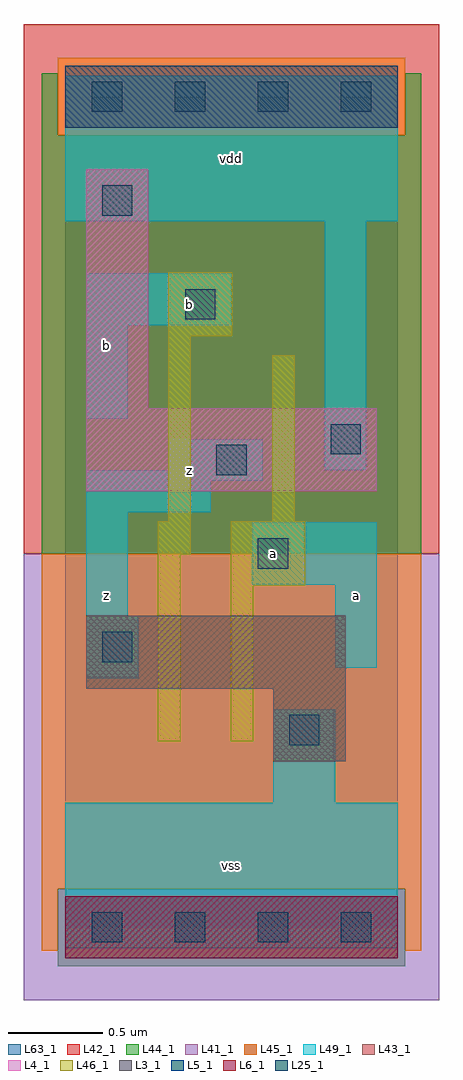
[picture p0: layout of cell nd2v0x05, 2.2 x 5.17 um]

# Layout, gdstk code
import gdstk
lib = gdstk.Library(unit=1e-6, precision=1e-09)
def R(c, l, rs):  # rectangles x0, y0, x1, y1
    for r in rs: c.add(gdstk.rectangle(r[:2], r[2:], *l))
def A(c, l, x, y, w, h, nx, ny, dx, dy):  # array of equal rectangles
    R(c, l, [(x+i*dx, y+j*dy, x+i*dx+w, y+j*dy+h) for i in range(nx) for j in range(ny)])
L3_1 = (3, 1)
L4_1 = (4, 1)
L5_1 = (5, 1)
L6_1 = (6, 1)
L25_1 = (25, 1)
L41_1 = (41, 1)
L42_1 = (42, 1)
L43_1 = (43, 1)
L44_1 = (44, 1)
L45_1 = (45, 1)
L46_1 = (46, 1)
L49_1 = (49, 1)
L63_1 = (63, 1)

nd2v0x05 = lib.new_cell('nd2v0x05')
R(nd2v0x05, L3_1, [(1.1,0.88,1.485,1.265), (0.11,1.265,1.485,1.65)])
R(nd2v0x05, L4_1, [(0.11,2.31,1.65,2.75), (0.11,2.75,0.44,4.015)])
R(nd2v0x05, L5_1, [(0,4.235,1.76,4.565)])
R(nd2v0x05, L6_1, [(0,-0.165,1.76,0.165)])
A(nd2v0x05, L25_1, 0.14, -0.08, 0.16, 0.16, 4, 2, 0.44, 4.4)
R(nd2v0x05, L25_1, [(1.185,0.965,1.345,1.125), (0.195,1.405,0.355,1.565), (1.02,1.9,1.18,2.06), (0.8,2.395,0.96,2.555), (1.405,2.505,1.565,2.665), (0.635,3.22,0.795,3.38), (0.195,3.77,0.355,3.93)])
R(nd2v0x05, L41_1, [(-0.22,-0.385,1.98,1.98)])
R(nd2v0x05, L42_1, [(-0.22,1.98,1.98,4.785)])
R(nd2v0x05, L43_1, [(0,-0.165,1.76,0.165), (1.1,0.88,1.485,1.265), (0.11,1.265,1.485,1.65), (0.11,2.31,1.65,2.75), (0.11,2.75,0.44,4.015), (0,4.235,1.76,4.565)])
R(nd2v0x05, L44_1, [(-0.04,-0.205,1.8,0.205), (-0.125,1.98,1.885,4.195), (-0.125,4.195,-0.04,4.525), (1.8,4.195,1.885,4.525)])
R(nd2v0x05, L45_1, [(-0.125,-0.125,-0.04,0.205), (1.8,-0.125,1.885,0.205), (-0.125,0.205,1.885,1.98), (-0.04,4.195,1.8,4.605)])
R(nd2v0x05, L46_1, [(0.49,0.985,0.61,1.975), (0.875,0.985,0.995,1.81), (0.875,1.81,1.27,2.15), (0.49,1.975,0.665,2.15), (0.545,2.15,0.665,3.13), (1.095,2.15,1.215,3.03), (0.545,3.13,0.885,3.47)])
R(nd2v0x05, L49_1, [(0,-0.11,1.76,0.66), (1.1,0.66,1.43,1.155), (0.11,1.32,0.385,1.65), (1.43,1.375,1.65,1.815), (0.11,1.65,0.33,2.2), (0.99,1.815,1.65,2.145), (0.11,2.2,0.77,2.365), (0.11,2.365,1.045,2.42), (0.55,2.42,1.045,2.585), (1.375,2.42,1.595,3.74), (0.11,2.695,0.33,3.19), (0.11,3.19,0.88,3.465), (0,3.74,1.76,4.51)])
R(nd2v0x05, L63_1, [(0,0,1.76,4.4)])
nd2v0x05.add(gdstk.Label('z', (0.22,1.76), layer=49, texttype=1))
nd2v0x05.add(gdstk.Label('b', (0.22,3.08), layer=49, texttype=1))
nd2v0x05.add(gdstk.Label('z', (0.66,2.42), layer=49, texttype=1))
nd2v0x05.add(gdstk.Label('b', (0.66,3.3), layer=49, texttype=1))
nd2v0x05.add(gdstk.Label('vss', (0.88,0.33), layer=49, texttype=1))
nd2v0x05.add(gdstk.Label('a', (1.1,1.98), layer=49, texttype=1))
nd2v0x05.add(gdstk.Label('vdd', (0.88,4.07), layer=49, texttype=1))
nd2v0x05.add(gdstk.Label('a', (1.54,1.76), layer=49, texttype=1))

lib.write_gds('nd2v0x05.gds')
